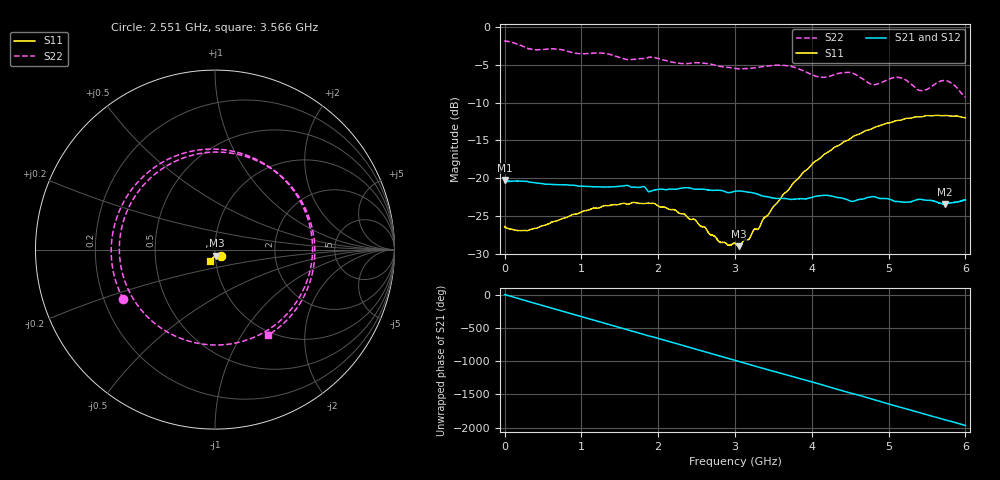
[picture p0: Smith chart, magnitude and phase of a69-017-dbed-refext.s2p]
!  3/18/2021  19:52:43
! Ref Plane: 13.288 mm
# MHZ S MA R  50
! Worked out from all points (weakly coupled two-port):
!   10001 points, 300 kHz to 6 GHz, reference 50 ohm
!   highest |S21| = -20.23 dB at 300 kHz (marker M1); lowest = -23.4 dB at 5.732 GHz (marker M2)
!   lowest |S11| = -29.0 dB at 3.048 GHz (marker M3), VSWR 1.07, Z = 50.6 - j3.51 ohm
!   |S11| at or under -10 dB: start of sweep to end of sweep
!   |S22| runs from -9.3 to -1.7 dB; largest |S21 - S12| = 0.0023
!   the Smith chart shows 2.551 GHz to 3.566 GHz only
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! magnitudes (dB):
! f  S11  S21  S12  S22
! 300 kHz  -26.4  -20.2  -20.4  -1.7
! 307.5 MHz  -26.9  -20.5  -20.5  -2.8
! 1 GHz  -24.5  -21.1  -21.1  -3.5
! 1.288 GHz  -23.7  -21.2  -21.2  -3.4
! 1.676 GHz  -23.2  -21.2  -21.2  -4.3
! 2.001 GHz  -23.7  -21.5  -21.5  -4.1
! 2.476 GHz  -25.5  -21.5  -21.5  -4.7
! 2.805 GHz  -28.5  -21.6  -21.6  -5.2
! 3 GHz  -28.7  -21.8  -21.8  -5.4
! 3.048 GHz  -29.0  -21.7  -21.7  -5.5
! 3.308 GHz  -26.7  -22.2  -22.2  -5.3
! 3.646 GHz  -22.0  -22.7  -22.7  -5.1
! 4 GHz  -18.2  -22.6  -22.6  -6.3
! 4.201 GHz  -16.6  -22.3  -22.3  -6.6
! 4.505 GHz  -14.7  -23.0  -23.1  -6.0
! 4.805 GHz  -13.3  -22.5  -22.4  -7.6
! 5 GHz  -12.7  -22.8  -22.8  -6.9
! 5.176 GHz  -12.3  -23.2  -23.2  -6.8
! 5.427 GHz  -11.9  -22.8  -22.8  -8.4
! 5.732 GHz  -11.7  -23.4  -23.4  -7.0
! 5.852 GHz  -11.8  -23.2  -23.2  -7.7
! 6 GHz  -12.0  -22.9  -22.8  -9.3
